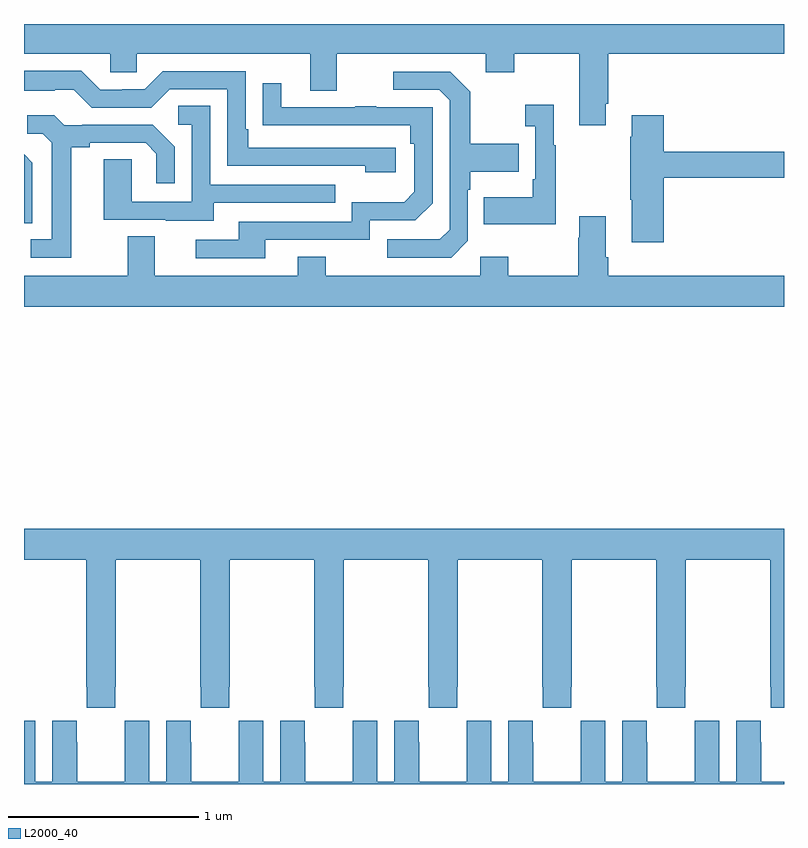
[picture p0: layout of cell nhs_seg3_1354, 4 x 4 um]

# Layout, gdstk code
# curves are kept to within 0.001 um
import gdstk
lib = gdstk.Library(unit=1e-6, precision=1e-09)
def P(c, l, *ps):  # polygons
    for p in ps: c.add(gdstk.Polygon(p, *l))
L2000_40 = (2000, 40)

nhs_seg3_1354 = lib.new_cell('nhs_seg3_1354')
P(nhs_seg3_1354, L2000_40, [(181,706.244),(181.455,706.244),(181.455,706.146),(181.593,706.146),(181.593,706.244),(182.507,706.244),(182.507,706.05),(182.647,706.05),(182.647,706.244),(183.431,706.244),(183.431,706.145),(183.579,706.145),(183.579,706.244),(183.923,706.244),(183.923,705.867),(184.063,705.867),(184.063,705.979),(184.076,705.979),(184.076,706.244),(185,706.244),(185,706.4),(181,706.4)],
  [(182.956,705.75),(182.179,705.75),(182.179,705.847),(182.166,705.847),(182.166,706.152),(181.731,706.152),(181.635,706.056),(181.517,706.056),(181.517,706.053),(181.401,706.053),(181.301,706.153),(181,706.153),(181,706.049),(181.163,706.049),(181.163,706.053),(181.263,706.053),(181.356,705.96),(181.671,705.96),(181.767,706.056),(182.07,706.056),(182.07,705.654),(182.795,705.654),(182.795,705.62),(182.956,705.62)],
  [(183.336,705.258),(183.336,705.527),(183.349,705.527),(183.349,705.623),(183.605,705.623),(183.605,705.771),(183.349,705.771),(183.349,706.043),(183.243,706.149),(182.943,706.149),(182.943,706.053),(183.186,706.053),(183.24,705.999),(183.24,705.318),(183.189,705.267),(182.913,705.267),(182.913,705.171),(183.249,705.171)],
  [(182.269,705.264),(182.82,705.264),(182.82,705.366),(183.06,705.366),(183.15,705.456),(183.15,705.963),(182.855,705.963),(182.855,705.968),(182.743,705.968),(182.743,705.963),(182.353,705.963),(182.353,706.087),(182.257,706.087),(182.257,705.868),(183.034,705.867),(183.034,705.77),(183.054,705.77),(183.054,705.516),(183.001,705.463),(182.724,705.463),(182.724,705.36),(182.129,705.36),(182.129,705.264),(181.905,705.264),(181.905,705.168),(182.269,705.168)],
  [(183.799,705.763),(183.787,705.763),(183.787,705.976),(183.639,705.976),(183.639,705.863),(183.69,705.863),(183.69,705.583),(183.678,705.583),(183.678,705.487),(183.421,705.487),(183.421,705.347),(183.799,705.347)],
  [(181.999,705.459),(182.639,705.459),(182.639,705.555),(181.98,705.555),(181.98,705.971),(181.812,705.971),(181.812,705.87),(181.884,705.87),(181.884,705.465),(181.566,705.465),(181.566,705.689),(181.421,705.689),(181.421,705.369),(181.745,705.369),(181.745,705.365),(181.999,705.365)],
  [(181.249,705.752),(181.345,705.752),(181.345,705.774),(181.64,705.774),(181.697,705.717),(181.697,705.561),(181.794,705.561),(181.794,705.754),(181.678,705.87),(181.306,705.87),(181.306,705.867),(181.212,705.867),(181.16,705.919),(181.017,705.919),(181.017,705.822),(181.098,705.822),(181.145,705.775),(181.145,705.267),(181.035,705.267),(181.035,705.171),(181.249,705.171)],
  [(184.367,705.592),(185,705.592),(185,705.728),(184.367,705.728),(184.367,705.919),(184.199,705.919),(184.199,705.806),(184.192,705.806),(184.192,705.475),(184.199,705.475),(184.199,705.252),(184.367,705.252)],
  [(181.044,705.67),(181,705.714),(181,705.352),(181.044,705.352)],
  [(185,705.076),(184.076,705.076),(184.076,705.172),(184.063,705.172),(184.063,705.388),(183.923,705.388),(183.923,705.275),(183.916,705.275),(183.916,705.076),(183.549,705.076),(183.549,705.175),(183.402,705.175),(183.402,705.076),(182.589,705.076),(182.589,705.175),(182.441,705.175),(182.441,705.076),(181.687,705.076),(181.687,705.284),(181.547,705.284),(181.547,705.076),(181,705.076),(181,704.912),(185,704.912)],
  [(181.479,702.913),(181.482,702.913),(181.482,703.58),(181.927,703.58),(181.927,702.913),(181.929,702.913),(181.929,702.801),(182.079,702.801),(182.079,702.913),(182.082,702.913),(182.082,703.58),(182.527,703.58),(182.527,702.913),(182.529,702.913),(182.529,702.801),(182.679,702.801),(182.679,702.913),(182.682,702.913),(182.682,703.58),(183.127,703.58),(183.127,702.913),(183.129,702.913),(183.129,702.801),(183.279,702.801),(183.279,702.913),(183.282,702.913),(183.282,703.58),(183.727,703.58),(183.727,702.913),(183.729,702.913),(183.729,702.801),(183.879,702.801),(183.879,702.913),(183.882,702.913),(183.882,703.58),(184.327,703.58),(184.327,702.913),(184.329,702.913),(184.329,702.801),(184.479,702.801),(184.479,702.913),(184.482,702.913),(184.482,703.58),(184.927,703.58),(184.927,702.913),(184.929,702.913),(184.929,702.801),(185,702.801),(185,703.744),(181,703.744),(181,703.58),(181.327,703.58),(181.327,702.913),(181.329,702.913),(181.329,702.801),(181.479,702.801)],
  [(185,702.412),(184.879,702.412),(184.879,702.62),(184.878,702.62),(184.878,702.733),(184.748,702.733),(184.748,702.412),(184.66,702.412),(184.66,702.733),(184.53,702.733),(184.53,702.62),(184.529,702.62),(184.529,702.412),(184.279,702.412),(184.279,702.62),(184.278,702.62),(184.278,702.733),(184.148,702.733),(184.148,702.412),(184.06,702.412),(184.06,702.733),(183.93,702.733),(183.93,702.62),(183.929,702.62),(183.929,702.412),(183.679,702.412),(183.679,702.62),(183.678,702.62),(183.678,702.733),(183.548,702.733),(183.548,702.412),(183.46,702.412),(183.46,702.733),(183.33,702.733),(183.33,702.62),(183.329,702.62),(183.329,702.412),(183.079,702.412),(183.079,702.62),(183.078,702.62),(183.078,702.733),(182.948,702.733),(182.948,702.412),(182.86,702.412),(182.86,702.733),(182.73,702.733),(182.73,702.62),(182.729,702.62),(182.729,702.412),(182.479,702.412),(182.479,702.62),(182.478,702.62),(182.478,702.733),(182.348,702.733),(182.348,702.412),(182.26,702.412),(182.26,702.733),(182.13,702.733),(182.13,702.62),(182.129,702.62),(182.129,702.412),(181.879,702.412),(181.879,702.62),(181.878,702.62),(181.878,702.733),(181.748,702.733),(181.748,702.412),(181.66,702.412),(181.66,702.733),(181.53,702.733),(181.53,702.62),(181.529,702.62),(181.529,702.412),(181.279,702.412),(181.279,702.62),(181.278,702.62),(181.278,702.733),(181.148,702.733),(181.148,702.412),(181.06,702.412),(181.06,702.733),(181,702.733),(181,702.4),(185,702.4)])

lib.write_gds('nhs_seg3_1354.gds')
